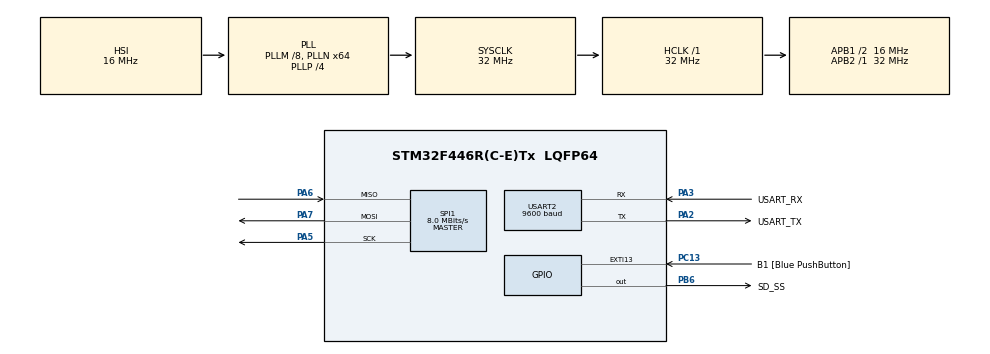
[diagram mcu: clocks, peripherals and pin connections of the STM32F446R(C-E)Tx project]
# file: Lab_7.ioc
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FATFS._MAX_SS=4096
FATFS._USE_LFN=1
Mcu.Family=STM32F4
Mcu.Name=STM32F446R(C-E)Tx
Mcu.Package=LQFP64
NVIC.PriorityGroup=NVIC_PRIORITYGROUP_0
NVIC.USART2_IRQn=true\:0\:0\:false\:false\:true\:true\:true\:true
PA13.GPIO_Label=TMS
PA13.Mode=Serial_Wire
PA13.Signal=SYS_JTMS-SWDIO
PA14.GPIO_Label=TCK
PA14.Mode=Serial_Wire
PA14.Signal=SYS_JTCK-SWCLK
PA2.GPIO_Label=USART_TX
PA2.Mode=Asynchronous
PA2.Signal=USART2_TX
PA3.GPIO_Label=USART_RX
PA3.Mode=Asynchronous
PA3.Signal=USART2_RX
PA5.Mode=Full_Duplex_Master
PA5.Signal=SPI1_SCK
PA6.Mode=Full_Duplex_Master
PA6.Signal=SPI1_MISO
PA7.Mode=Full_Duplex_Master
PA7.Signal=SPI1_MOSI
PB3.GPIO_Label=SWO
PB3.Signal=SYS_JTDO-SWO
PB6.GPIO_Label=SD_SS
PB6.GPIO_Speed=GPIO_SPEED_FREQ_MEDIUM
PB6.PinState=GPIO_PIN_SET
PB6.Signal=GPIO_Output
PC13.GPIO_Label=B1 [Blue PushButton]
PC13.GPIO_ModeDefaultEXTI=GPIO_MODE_IT_FALLING
PC13.Signal=GPXTI13
PC14-OSC32_IN.Mode=LSE-External-Oscillator
PC14-OSC32_IN.Signal=RCC_OSC32_IN
PC15-OSC32_OUT.Mode=LSE-External-Oscillator
PC15-OSC32_OUT.Signal=RCC_OSC32_OUT
PH0-OSC_IN.Mode=HSE-External-Oscillator
PH0-OSC_IN.Signal=RCC_OSC_IN
PH1-OSC_OUT.Mode=HSE-External-Oscillator
PH1-OSC_OUT.Signal=RCC_OSC_OUT
ProjectManager.HeapSize=0x200
ProjectManager.StackSize=0x400
ProjectManager.TargetToolchain=STM32CubeIDE
RCC.48MHZClocksFreq_Value=84000000
RCC.AHBFreq_Value=32000000
RCC.APB1CLKDivider=RCC_HCLK_DIV2
RCC.APB1Freq_Value=16000000
RCC.APB1TimFreq_Value=32000000
RCC.APB2Freq_Value=32000000
RCC.APB2TimFreq_Value=32000000
RCC.CortexFreq_Value=32000000
RCC.FLatency-AdvancedSettings=FLASH_LATENCY_1
RCC.HCLKFreq_Value=32000000
RCC.HSE_VALUE=8000000
RCC.HSI_VALUE=16000000
RCC.PLLM=8
RCC.PLLN=64
RCC.PLLP=RCC_PLLP_DIV4
RCC.SYSCLKFreq_VALUE=32000000
RCC.SYSCLKSource=RCC_SYSCLKSOURCE_PLLCLK
RCC.USBFreq_Value=64000000
RCC.VCOOutputFreq_Value=128000000
SPI1.BaudRatePrescaler=SPI_BAUDRATEPRESCALER_4
SPI1.CalculateBaudRate=8.0 MBits/s
SPI1.Direction=SPI_DIRECTION_2LINES
SPI1.Mode=SPI_MODE_MASTER
SPI1.VirtualType=VM_MASTER
USART2.BaudRate=9600
USART2.VirtualMode=VM_ASYNC
VP_FATFS_VS_Generic.Mode=User_defined
board=NUCLEO-F446RE

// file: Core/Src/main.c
/* USER CODE BEGIN Header */
/**
  ******************************************************************************
  * @file           : main.c
  * @brief          : Main program body
  ******************************************************************************
  * @attention
  *
  * Copyright (c) 2025 STMicroelectronics.
  * All rights reserved.
  *
  * This software is licensed under terms that can be found in the LICENSE file
  * in the root directory of this software component.
  * If no LICENSE file comes with this software, it is provided AS-IS.
  *
  ******************************************************************************
  */
/* USER CODE END Header */
#include "main.h"
#include "fatfs.h"

/* USER CODE BEGIN Includes */
#include "fatfs_sd.h"
#include "string.h"
#include "stdio.h"
/* USER CODE END Includes */

/* USER CODE BEGIN PD */
SPI_HandleTypeDef hspi1;
FATFS fs;
FATFS *pfs;
FIL fil;
FRESULT fres;
DWORD fre_clust;
uint32_t totalSpace, freeSpace;
char buffer[100];
/* USER CODE END PD */

SPI_HandleTypeDef hspi1;

UART_HandleTypeDef huart2;

/* USER CODE BEGIN PV */
uint8_t buffer2;
uint8_t recibir = 0;
/* USER CODE END PV */

void SystemClock_Config(void);
static void MX_GPIO_Init(void);
static void MX_USART2_UART_Init(void);
static void MX_SPI1_Init(void);

/* USER CODE BEGIN 0 */
/*void transmit_uart (char *string){
	uint8_t len = strlen(string);
	HAL_UART_Transmit(&huart2, (uint8_t*) string, len, 200);
}*/
/* USER CODE END 0 */

int main(void)
{

  /* MCU Configuration--------------------------------------------------------*/

  /* Reset of all peripherals, Initializes the Flash interface and the Systick. */
  HAL_Init();

  /* Configure the system clock */
  SystemClock_Config();

  /* Initialize all configured peripherals */
  MX_GPIO_Init();
  MX_USART2_UART_Init();
  MX_SPI1_Init();
  MX_FATFS_Init();
  /* USER CODE BEGIN 2 */
  void transmit_uart(char *string);
  HAL_UART_Receive_IT(&huart2, &buffer2, 1);
  void MenuImagenes();
  void MostrarMenu();
  //Montar SD
  fres = f_mount(&fs, "/", 0);
  if (fres == FR_OK) {
  transmit_uart("Micro SD card is mounted successfully\r\n");
	  //uint8_t test1[] = "Micro SD card is mounted successfully!\r\n";
	  //HAL_UART_Transmit(&huart2, test1, sizeof(test1), 100);
  } else if (fres != FR_OK) {
  transmit_uart("Micro SD card's mount error!\r\n");
	  //uint8_t test2[] = "Micro SD card's mount error!\r\n";
	  //HAL_UART_Transmit(&huart2, test2, sizeof(test2), 100);
  }
/*
  //Abrir archivo
  fres = f_open(&fil, "1.txt", FA_OPEN_APPEND | FA_WRITE | FA_READ);
  if (fres == FR_OK) {
  transmit_uart("File opened for reading.\r\n");
	  //uint8_t test5[] = "File opened for reading.\r\n";
	  //HAL_UART_Transmit(&huart2, test5, sizeof(test5), 100);
  } else if (fres != FR_OK) {
  transmit_uart("File was not opened for reading!\r\n");
	  //uint8_t test6[] = "File was not opened for reading!\r\n";
	  //HAL_UART_Transmit(&huart2, test6, sizeof(test6), 100);
  }

  //Escribir en archivo
  //for (uint8_t i = 0; i < 10; i++) {
  f_puts("Hola Mundo. Este es el archivo 1.\r\n", &fil);
  //}

  //Cerrar archivo
    fres = f_close(&fil);
    if (fres == FR_OK) {
    transmit_uart("The file is closed.\r\n");
  	  //uint8_t test7[] = "The file is closed.\r\n";
  	  //HAL_UART_Transmit(&huart2, test7, sizeof(test7), 100);
    } else if (fres != FR_OK) {
    transmit_uart("The file was not closed.\r\n");
  	  //uint8_t test8[] = "The file was not closed.\r\n";
  	  //HAL_UART_Transmit(&huart2, test8, sizeof(test8), 100);
    }
*/

 MostrarMenu();
  /* USER CODE END 2 */

  /* Infinite loop */
  /* USER CODE BEGIN WHILE */
  while (1)
  {
	  MenuImagenes(); // Llama al menú dentro del bucle principal
    /* USER CODE END WHILE */

  }
}

void SystemClock_Config(void)
{
  RCC_OscInitTypeDef RCC_OscInitStruct = {0};
  RCC_ClkInitTypeDef RCC_ClkInitStruct = {0};

  /** Configure the main internal regulator output voltage
  */
  __HAL_RCC_PWR_CLK_ENABLE();
  __HAL_PWR_VOLTAGESCALING_CONFIG(PWR_REGULATOR_VOLTAGE_SCALE3);

  /** Initializes the RCC Oscillators according to the specified parameters
  * in the RCC_OscInitTypeDef structure.
  */
  RCC_OscInitStruct.OscillatorType = RCC_OSCILLATORTYPE_HSI;
  RCC_OscInitStruct.HSIState = RCC_HSI_ON;
  RCC_OscInitStruct.HSICalibrationValue = RCC_HSICALIBRATION_DEFAULT;
  RCC_OscInitStruct.PLL.PLLState = RCC_PLL_ON;
  RCC_OscInitStruct.PLL.PLLSource = RCC_PLLSOURCE_HSI;
  RCC_OscInitStruct.PLL.PLLM = 8;
  RCC_OscInitStruct.PLL.PLLN = 64;
  RCC_OscInitStruct.PLL.PLLP = RCC_PLLP_DIV4;
  RCC_OscInitStruct.PLL.PLLQ = 2;
  RCC_OscInitStruct.PLL.PLLR = 2;
  if (HAL_RCC_OscConfig(&RCC_OscInitStruct) != HAL_OK)
  {
    Error_Handler();
  }

  /** Initializes the CPU, AHB and APB buses clocks
  */
  RCC_ClkInitStruct.ClockType = RCC_CLOCKTYPE_HCLK|RCC_CLOCKTYPE_SYSCLK
                              |RCC_CLOCKTYPE_PCLK1|RCC_CLOCKTYPE_PCLK2;
  RCC_ClkInitStruct.SYSCLKSource = RCC_SYSCLKSOURCE_PLLCLK;
  RCC_ClkInitStruct.AHBCLKDivider = RCC_SYSCLK_DIV1;
  RCC_ClkInitStruct.APB1CLKDivider = RCC_HCLK_DIV2;
  RCC_ClkInitStruct.APB2CLKDivider = RCC_HCLK_DIV1;

  if (HAL_RCC_ClockConfig(&RCC_ClkInitStruct, FLASH_LATENCY_1) != HAL_OK)
  {
    Error_Handler();
  }
}

static void MX_SPI1_Init(void)
{

  /* SPI1 parameter configuration*/
  hspi1.Instance = SPI1;
  hspi1.Init.Mode = SPI_MODE_MASTER;
  hspi1.Init.Direction = SPI_DIRECTION_2LINES;
  hspi1.Init.DataSize = SPI_DATASIZE_8BIT;
  hspi1.Init.CLKPolarity = SPI_POLARITY_LOW;
  hspi1.Init.CLKPhase = SPI_PHASE_1EDGE;
  hspi1.Init.NSS = SPI_NSS_SOFT;
  hspi1.Init.BaudRatePrescaler = SPI_BAUDRATEPRESCALER_4;
  hspi1.Init.FirstBit = SPI_FIRSTBIT_MSB;
  hspi1.Init.TIMode = SPI_TIMODE_DISABLE;
  hspi1.Init.CRCCalculation = SPI_CRCCALCULATION_DISABLE;
  hspi1.Init.CRCPolynomial = 10;
  if (HAL_SPI_Init(&hspi1) != HAL_OK)
  {
    Error_Handler();
  }

}

static void MX_USART2_UART_Init(void)
{

  huart2.Instance = USART2;
  huart2.Init.BaudRate = 9600;
  huart2.Init.WordLength = UART_WORDLENGTH_8B;
  huart2.Init.StopBits = UART_STOPBITS_1;
  huart2.Init.Parity = UART_PARITY_NONE;
  huart2.Init.Mode = UART_MODE_TX_RX;
  huart2.Init.HwFlowCtl = UART_HWCONTROL_NONE;
  huart2.Init.OverSampling = UART_OVERSAMPLING_16;
  if (HAL_UART_Init(&huart2) != HAL_OK)
  {
    Error_Handler();
  }

}

static void MX_GPIO_Init(void)
{
  GPIO_InitTypeDef GPIO_InitStruct = {0};

  /* GPIO Ports Clock Enable */
  __HAL_RCC_GPIOC_CLK_ENABLE();
  __HAL_RCC_GPIOH_CLK_ENABLE();
  __HAL_RCC_GPIOA_CLK_ENABLE();
  __HAL_RCC_GPIOB_CLK_ENABLE();

  /*Configure GPIO pin Output Level */
  HAL_GPIO_WritePin(SD_SS_GPIO_Port, SD_SS_Pin, GPIO_PIN_SET);

  /*Configure GPIO pin : B1_Pin */
  GPIO_InitStruct.Pin = B1_Pin;
  GPIO_InitStruct.Mode = GPIO_MODE_IT_FALLING;
  GPIO_InitStruct.Pull = GPIO_NOPULL;
  HAL_GPIO_Init(B1_GPIO_Port, &GPIO_InitStruct);

  /*Configure GPIO pin : SD_SS_Pin */
  GPIO_InitStruct.Pin = SD_SS_Pin;
  GPIO_InitStruct.Mode = GPIO_MODE_OUTPUT_PP;
  GPIO_InitStruct.Pull = GPIO_NOPULL;
  GPIO_InitStruct.Speed = GPIO_SPEED_FREQ_MEDIUM;
  HAL_GPIO_Init(SD_SS_GPIO_Port, &GPIO_InitStruct);

}

/* USER CODE BEGIN 4 */
void transmit_uart (char *string){
	HAL_UART_Transmit(&huart2, (uint8_t*) string, strlen(string), 200);
}

// Función para mostrar el menú
void MostrarMenu() {
    char menu[] = "\r\n--- MENU ---\r\n"
                  "Seleccione una imagen:\r\n"
                  "1. Imagen 1\r\n"
                  "2. Imagen 2\r\n"
                  "3. Imagen 3\r\n"
    				"4. Salir\r\n"
                  "Ingrese una opcion: ";
    transmit_uart(menu);
}

// Función principal del menú
void MenuImagenes() {
	if (recibir) { // Solo entra si se ha recibido un dato
		recibir = 0; // Resetea la bandera

		switch (buffer2) {
			case '1':
				transmit_uart("\nMostrando Imagen 1...\n");
				fres = f_open(&fil, "mnm.txt", FA_READ);
					if (fres == FR_OK) {
					transmit_uart("File opened for reading.\r\n");
					  //uint8_t test5[] = "File opened for reading.\r\n";
					  //HAL_UART_Transmit(&huart2, test5, sizeof(test5), 100);
					} else if (fres != FR_OK) {
					transmit_uart("File was not opened for reading!\r\n");
					  //uint8_t test6[] = "File was not opened for reading!\r\n";
					  //HAL_UART_Transmit(&huart2, test6, sizeof(test6), 100);
					}

				  //Leer archivo
				  while (f_gets(buffer, sizeof(buffer), &fil)) {
				  char mRd[100];
				  sprintf(mRd, "%s", buffer);
				  transmit_uart(mRd);
				  //HAL_UART_Transmit(&huart2, (uint8_t*)mRd, strlen(mRd), 100);
				  }

				  //Cerrar archivo
				  fres = f_close(&fil);
				  if (fres == FR_OK) {
				  transmit_uart("The file is closed.\r\n");
					  //uint8_t test7[] = "The file is closed.\r\n";
					  //HAL_UART_Transmit(&huart2, test7, sizeof(test7), 100);
				  } else if (fres != FR_OK) {
				  transmit_uart("The file was not closed.\r\n");
					  //uint8_t test8[] = "The file was not closed.\r\n";
					  //HAL_UART_Transmit(&huart2, test8, sizeof(test8), 100);
				  }
				HAL_Delay(2000); // Simula una pausa antes de volver al menú
				MostrarMenu();
				break;

			case '2':
				transmit_uart("\nMostrando Imagen 2...\n");
				fres = f_open(&fil, "mr.txt", FA_READ);
					if (fres == FR_OK) {
					transmit_uart("File opened for reading.\r\n");
					  //uint8_t test5[] = "File opened for reading.\r\n";
					  //HAL_UART_Transmit(&huart2, test5, sizeof(test5), 100);
					} else if (fres != FR_OK) {
					transmit_uart("File was not opened for reading!\r\n");
					  //uint8_t test6[] = "File was not opened for reading!\r\n";
					  //HAL_UART_Transmit(&huart2, test6, sizeof(test6), 100);
					}

				  //Leer archivo
				  while (f_gets(buffer, sizeof(buffer), &fil)) {
				  char mRd[100];
				  sprintf(mRd, "%s", buffer);
				  transmit_uart(mRd);
				  //HAL_UART_Transmit(&huart2, (uint8_t*)mRd, strlen(mRd), 100);
				  }

				  //Cerrar archivo
				  fres = f_close(&fil);
				  if (fres == FR_OK) {
				  transmit_uart("The file is closed.\r\n");
					  //uint8_t test7[] = "The file is closed.\r\n";
					  //HAL_UART_Transmit(&huart2, test7, sizeof(test7), 100);
				  } else if (fres != FR_OK) {
				  transmit_uart("The file was not closed.\r\n");
					  //uint8_t test8[] = "The file was not closed.\r\n";
					  //HAL_UART_Transmit(&huart2, test8, sizeof(test8), 100);
				  }
				HAL_Delay(2000);
				MostrarMenu();
				break;

			case '3':
				transmit_uart("\nMostrando Imagen 3...\n");
				fres = f_open(&fil, "nya.txt", FA_READ);
					if (fres == FR_OK) {
					transmit_uart("File opened for reading.\r\n");
					  //uint8_t test5[] = "File opened for reading.\r\n";
					  //HAL_UART_Transmit(&huart2, test5, sizeof(test5), 100);
					} else if (fres != FR_OK) {
					transmit_uart("File was not opened for reading!\r\n");
					  //uint8_t test6[] = "File was not opened for reading!\r\n";
					  //HAL_UART_Transmit(&huart2, test6, sizeof(test6), 100);
					}

				  //Leer archivo
				  while (f_gets(buffer, sizeof(buffer), &fil)) {
				  char mRd[100];
				  sprintf(mRd, "%s", buffer);
				  transmit_uart(mRd);
				  //HAL_UART_Transmit(&huart2, (uint8_t*)mRd, strlen(mRd), 100);
				  }

				  //Cerrar archivo
				  fres = f_close(&fil);
				  if (fres == FR_OK) {
				  transmit_uart("The file is closed.\r\n");
					  //uint8_t test7[] = "The file is closed.\r\n";
					  //HAL_UART_Transmit(&huart2, test7, sizeof(test7), 100);
				  } else if (fres != FR_OK) {
				  transmit_uart("The file was not closed.\r\n");
					  //uint8_t test8[] = "The file was not closed.\r\n";
					  //HAL_UART_Transmit(&huart2, test8, sizeof(test8), 100);
				  }
				HAL_Delay(2000);
				MostrarMenu();
				break;

			case '4':
				 //Desmontar archivo
				  f_mount(NULL, "", 1);
				  if (fres == FR_OK) {
				  transmit_uart("The Micro SD card is unmounted!\r\n");
					  //uint8_t test3[] = "The Micro SD card is unmounted!\r\n";
					  //HAL_UART_Transmit(&huart2, test3, sizeof(test3), 100);
				  } else if (fres != FR_OK) {
				  transmit_uart("The Micro SD was not unmounted!\r\n");
					  //uint8_t test4[] = "The Micro SD was not unmounted!\r\n";
					  //HAL_UART_Transmit(&huart2, test4, sizeof(test4), 100);
				  }
				break;

			default:
				transmit_uart("\nOpción inválida. Intente de nuevo.\n");
				MostrarMenu();
				break;
		}
	}
}

void HAL_UART_RxCpltCallback(UART_HandleTypeDef *huart){
	//HAL_UART_Transmit(&huart2, &buffer, sizeof(&buffer), 100);
	recibir = 1;
	HAL_UART_Receive_IT(&huart2, &buffer2, 1);
}
/* USER CODE END 4 */

void Error_Handler(void)
{
  __disable_irq();
  while (1)
  {
  }
}
